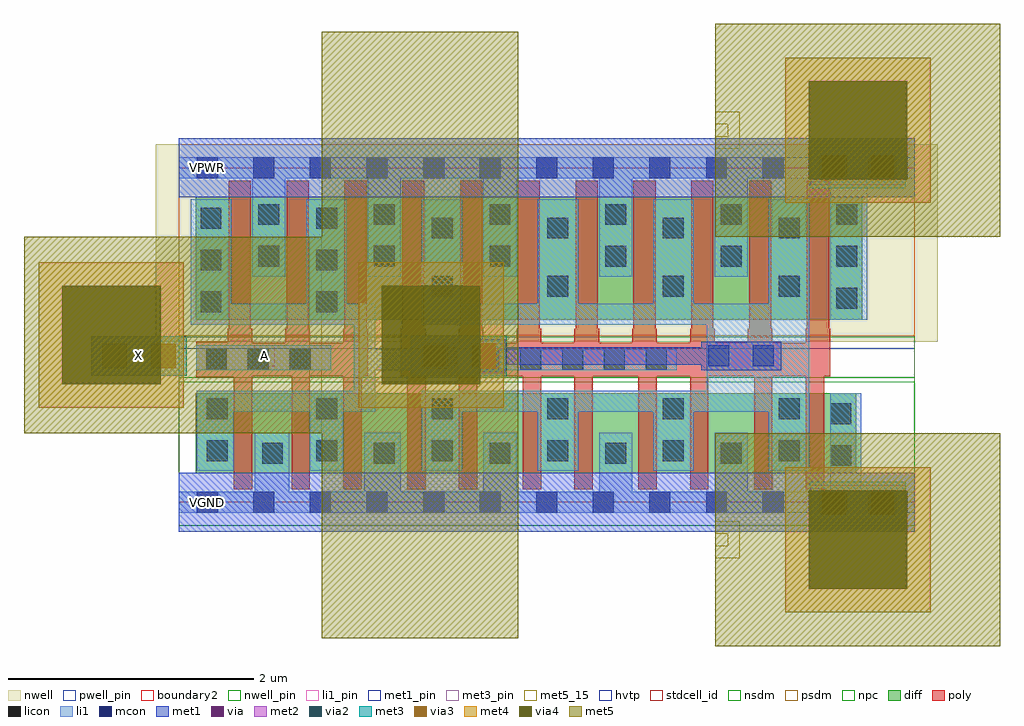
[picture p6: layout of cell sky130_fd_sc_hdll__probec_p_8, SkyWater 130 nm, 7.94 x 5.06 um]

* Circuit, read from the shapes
.subckt sky130_fd_sc_hdll__probec_p_8 A VGND VNB VPB VPWR X
XM1 VGND A n1 VNB sky130_fd_pr__nfet_01v8 w=0.65 l=0.15 m=3
XM2 X n1 VGND VNB sky130_fd_pr__nfet_01v8 w=0.65 l=0.15 m=8
XM3 VPWR A n1 VPB sky130_fd_pr__pfet_01v8_hvt w=1 l=0.18 m=3
XM4 X n1 VPWR VPB sky130_fd_pr__pfet_01v8_hvt w=1 l=0.18 m=8
.ends

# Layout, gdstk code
import gdstk
lib = gdstk.Library(unit=1e-6, precision=1e-09)
def R(c, l, rs):  # rectangles x0, y0, x1, y1
    for r in rs: c.add(gdstk.rectangle(r[:2], r[2:], *l))
def A(c, l, x, y, w, h, nx, ny, dx, dy):  # array of equal rectangles
    R(c, l, [(x+i*dx, y+j*dy, x+i*dx+w, y+j*dy+h) for i in range(nx) for j in range(ny)])
def P(c, l, *ps):  # polygons
    for p in ps: c.add(gdstk.Polygon(p, *l))
nwell_pin = (64, 16)
nwell = (64, 20)
diff = (65, 20)
poly = (66, 20)
licon = (66, 44)
li1_pin = (67, 16)
li1 = (67, 20)
mcon = (67, 44)
met1_pin = (68, 16)
met1 = (68, 20)
via = (68, 44)
met2 = (69, 20)
via2 = (69, 44)
met3_pin = (70, 16)
met3 = (70, 20)
via3 = (70, 44)
met4 = (71, 20)
via4 = (71, 44)
met5_15 = (72, 15)
met5 = (72, 20)
hvtp = (78, 44)
stdcell_id = (81, 4)
nsdm = (93, 44)
psdm = (94, 20)
npc = (95, 20)
pwell_pin = (122, 16)
boundary2 = (236, 0)

sky130_fd_sc_hdll__probe = lib.new_cell('sky130_fd_sc_hdll__probec_p_8')
R(sky130_fd_sc_hdll__probe, nwell_pin, [(0.15,2.635,0.32,2.805)])
R(sky130_fd_sc_hdll__probe, nwell, [(-0.19,1.305,6.17,2.91)])
R(sky130_fd_sc_hdll__probe, diff, [(0.135,0.235,5.505,0.885), (0.135,1.485,5.555,2.485)])
P(sky130_fd_sc_hdll__probe, poly, [(1.535,1.41),(1.525,1.41),(1.525,2.615),(1.345,2.615),(1.345,1.41),(1.335,1.41),(1.335,1.295),(1.065,1.295),(1.065,1.41),(1.055,1.41),(1.055,2.615),(0.875,2.615),(0.875,1.41),(0.865,1.41),(0.865,1.295),(0.595,1.295),(0.595,1.41),(0.585,1.41),(0.585,2.615),(0.405,2.615),(0.405,1.41),(0.395,1.41),(0.395,1.305),(0.14,1.305),(0.14,1.015),(0.445,1.015),(0.445,0.105),(0.595,0.105),(0.595,1.025),(0.915,1.025),(0.915,0.105),(1.065,0.105),(1.065,1.025),(1.335,1.025),(1.335,0.105),(1.485,0.105),(1.485,1.025),(1.535,1.025)],
  [(5.295,1.41),(5.285,1.41),(5.285,2.615),(5.105,2.615),(5.105,1.41),(5.095,1.41),(5.095,1.295),(4.825,1.295),(4.825,1.41),(4.815,1.41),(4.815,2.615),(4.635,2.615),(4.635,1.41),(4.625,1.41),(4.625,1.295),(4.355,1.295),(4.355,1.41),(4.345,1.41),(4.345,2.615),(4.165,2.615),(4.165,1.41),(4.155,1.41),(4.155,1.295),(3.885,1.295),(3.885,1.41),(3.875,1.41),(3.875,2.615),(3.695,2.615),(3.695,1.41),(3.685,1.41),(3.685,1.295),(3.415,1.295),(3.415,1.41),(3.405,1.41),(3.405,2.615),(3.225,2.615),(3.225,1.41),(3.215,1.41),(3.215,1.295),(2.945,1.295),(2.945,1.41),(2.935,1.41),(2.935,2.615),(2.755,2.615),(2.755,1.41),(2.745,1.41),(2.745,1.295),(2.475,1.295),(2.475,1.41),(2.465,1.41),(2.465,2.615),(2.285,2.615),(2.285,1.41),(2.275,1.41),(2.275,1.295),(2.005,1.295),(2.005,1.41),(1.995,1.41),(1.995,2.615),(1.815,2.615),(1.815,1.41),(1.805,1.41),(1.805,1.025),(1.855,1.025),(1.855,0.105),(2.005,0.105),(2.005,1.025),(2.275,1.025),(2.275,0.105),(2.425,0.105),(2.425,1.025),(2.795,1.025),(2.795,0.105),(2.945,0.105),(2.945,1.025),(3.215,1.025),(3.215,0.105),(3.365,0.105),(3.365,1.025),(3.735,1.025),(3.735,0.105),(3.885,0.105),(3.885,1.025),(4.155,1.025),(4.155,0.105),(4.305,0.105),(4.305,1.025),(4.675,1.025),(4.675,0.105),(4.825,0.105),(4.825,1.025),(5.095,1.025),(5.095,0.105),(5.245,0.105),(5.245,1.025),(5.295,1.025)])
A(sky130_fd_sc_hdll__probe, licon, 1.585, 0.315, 0.17, 0.17, 4, 1, 0.94, 0)
A(sky130_fd_sc_hdll__probe, licon, 1.115, 0.335, 0.17, 0.17, 5, 2, 0.94, 0.34)
A(sky130_fd_sc_hdll__probe, licon, 0.22, 1.075, 0.17, 0.17, 3, 1, 0.34, 0)
A(sky130_fd_sc_hdll__probe, licon, 2.095, 1.075, 0.17, 0.17, 6, 1, 0.34, 0)
A(sky130_fd_sc_hdll__probe, licon, 0.175, 1.545, 0.17, 0.17, 1, 3, 0, 0.34)
A(sky130_fd_sc_hdll__probe, licon, 1.115, 1.545, 0.17, 0.17, 1, 3, 0, 0.34)
A(sky130_fd_sc_hdll__probe, licon, 2.055, 1.67, 0.17, 0.17, 4, 2, 0.94, 0.475)
A(sky130_fd_sc_hdll__probe, licon, 0.645, 1.915, 0.17, 0.17, 6, 2, 0.94, 0.34)
R(sky130_fd_sc_hdll__probe, licon, [(5.295,0.295,5.465,0.465), (0.675,0.315,0.845,0.485), (0.225,0.335,0.395,0.505), (5.295,0.635,5.465,0.805), (0.225,0.675,0.395,0.845), (5.345,1.575,5.515,1.745)])
R(sky130_fd_sc_hdll__probe, li1_pin, [(0.15,-0.085,0.32,0.085), (0.61,1.105,0.78,1.275), (0.15,2.635,0.32,2.805)])
R(sky130_fd_sc_hdll__probe, li1, [(0.14,1.075,1.24,1.275)])
P(sky130_fd_sc_hdll__probe, li1, [(5.125,2.465),(4.795,2.465),(4.795,1.615),(4.185,1.615),(4.185,2.465),(3.855,2.465),(3.855,1.615),(3.245,1.615),(3.245,2.465),(2.915,2.465),(2.915,1.615),(2.305,1.615),(2.305,2.465),(1.975,2.465),(1.975,1.445),(4.29,1.445),(4.29,0.905),(1.975,0.905),(1.975,0.255),(2.305,0.255),(2.305,0.735),(2.915,0.735),(2.915,0.255),(3.245,0.255),(3.245,0.735),(3.855,0.735),(3.855,0.255),(4.185,0.255),(4.185,0.735),(4.795,0.735),(4.795,0.255),(5.125,0.255)],
  [(5.98,2.805),(0,2.805),(0,2.635),(0.595,2.635),(0.595,1.835),(0.865,1.835),(0.865,2.635),(1.535,2.635),(1.535,1.835),(1.805,1.835),(1.805,2.635),(2.475,2.635),(2.475,1.835),(2.745,1.835),(2.745,2.635),(3.415,2.635),(3.415,1.835),(3.685,1.835),(3.685,2.635),(4.355,2.635),(4.355,1.835),(4.625,1.835),(4.625,2.635),(5.295,2.635),(5.295,1.485),(5.595,1.485),(5.595,2.635),(5.98,2.635)],
  [(5.98,0.085),(5.545,0.085),(5.545,0.885),(5.295,0.885),(5.295,0.085),(4.625,0.085),(4.625,0.565),(4.355,0.565),(4.355,0.085),(3.685,0.085),(3.685,0.565),(3.415,0.565),(3.415,0.085),(2.745,0.085),(2.745,0.565),(2.475,0.565),(2.475,0.085),(1.805,0.085),(1.805,0.565),(1.505,0.565),(1.505,0.085),(0.895,0.085),(0.895,0.565),(0.615,0.565),(0.615,0.085),(0,0.085),(0,-0.085),(5.98,-0.085)],
  [(4.045,1.245),(1.595,1.245),(1.595,1.615),(1.365,1.615),(1.365,2.465),(1.035,2.465),(1.035,1.615),(0.425,1.615),(0.425,2.465),(0.095,2.465),(0.095,1.445),(1.42,1.445),(1.42,0.905),(0.145,0.905),(0.145,0.255),(0.445,0.255),(0.445,0.735),(1.065,0.735),(1.065,0.255),(1.335,0.255),(1.335,0.735),(1.595,0.735),(1.595,1.075),(4.045,1.075)])
A(sky130_fd_sc_hdll__probe, mcon, 0.145, -0.085, 0.17, 0.17, 13, 2, 0.46, 2.72)
R(sky130_fd_sc_hdll__probe, mcon, [(4.305,1.105,4.475,1.275), (4.665,1.105,4.835,1.275)])
R(sky130_fd_sc_hdll__probe, met1_pin, [(0.15,-0.085,0.32,0.085), (0.15,2.635,0.32,2.805)])
R(sky130_fd_sc_hdll__probe, met1, [(0,-0.24,5.98,0.24), (0,2.48,5.98,2.96)])
P(sky130_fd_sc_hdll__probe, met1, [(4.895,1.305),(4.245,1.305),(4.245,1.26),(2.66,1.26),(2.66,1.32),(2.02,1.32),(2.02,1.06),(2.66,1.06),(2.66,1.12),(4.245,1.12),(4.245,1.075),(4.895,1.075)])
R(sky130_fd_sc_hdll__probe, via, [(5.285,-0.075,5.435,0.075), (5.605,-0.075,5.755,0.075), (2.105,1.115,2.255,1.265), (2.425,1.115,2.575,1.265), (5.285,2.645,5.435,2.795), (5.605,2.645,5.755,2.795)])
R(sky130_fd_sc_hdll__probe, met2, [(5.135,-0.14,5.905,0.14), (1.89,1.05,2.66,1.33), (5.135,2.58,5.905,2.86)])
R(sky130_fd_sc_hdll__probe, via2, [(5.22,-0.1,5.42,0.1), (5.62,-0.1,5.82,0.1), (1.975,1.09,2.175,1.29), (2.375,1.09,2.575,1.29), (5.22,2.62,5.42,2.82), (5.62,2.62,5.82,2.82)])
R(sky130_fd_sc_hdll__probe, met3_pin, [(-0.49,1.03,-0.17,1.35)])
R(sky130_fd_sc_hdll__probe, met3, [(5.13,-0.165,5.91,0.165), (1.885,1.025,2.665,1.355), (-0.715,1.03,0.065,1.35), (5.13,2.555,5.91,2.885)])
R(sky130_fd_sc_hdll__probe, via3, [(5.22,-0.1,5.42,0.1), (5.62,-0.1,5.82,0.1), (-0.625,1.09,-0.425,1.29), (-0.225,1.09,-0.025,1.29), (1.975,1.09,2.175,1.29), (2.375,1.09,2.575,1.29), (5.22,2.62,5.42,2.82), (5.62,2.62,5.82,2.82)])
R(sky130_fd_sc_hdll__probe, met4, [(4.93,-0.895,6.11,0.285), (-1.14,0.77,0.04,1.95), (1.46,0.77,2.64,1.95), (4.93,2.435,6.11,3.615)])
R(sky130_fd_sc_hdll__probe, via4, [(5.12,-0.705,5.92,0.095), (-0.95,0.96,-0.15,1.76), (1.65,0.96,2.45,1.76), (5.12,2.625,5.92,3.425)])
R(sky130_fd_sc_hdll__probe, met5_15, [(1.06,0.56,1.16,2.16)])
P(sky130_fd_sc_hdll__probe, met5_15, [(4.56,3.175),(4.36,3.175),(4.36,3.075),(4.46,3.075),(4.46,2.975),(4.36,2.975),(4.36,2.875),(4.56,2.875)],
  [(4.56,-0.155),(4.36,-0.155),(4.36,-0.255),(4.46,-0.255),(4.46,-0.355),(4.36,-0.355),(4.36,-0.455),(4.56,-0.455)])
R(sky130_fd_sc_hdll__probe, met5, [(4.36,-1.17,6.675,0.56), (4.36,2.16,6.675,3.89)])
P(sky130_fd_sc_hdll__probe, met5, [(2.76,3.825),(1.16,3.825),(1.16,2.16),(-1.26,2.16),(-1.26,0.56),(1.16,0.56),(1.16,-1.105),(2.76,-1.105)])
R(sky130_fd_sc_hdll__probe, hvtp, [(0,1.25,5.98,2.72)])
R(sky130_fd_sc_hdll__probe, stdcell_id, [(0,0,5.98,2.72)])
R(sky130_fd_sc_hdll__probe, nsdm, [(0,-0.19,5.98,1.015)])
R(sky130_fd_sc_hdll__probe, psdm, [(0,1.355,5.98,2.91)])
R(sky130_fd_sc_hdll__probe, npc, [(0,0.975,5.98,1.345)])
R(sky130_fd_sc_hdll__probe, pwell_pin, [(0.15,-0.085,0.32,0.085)])
R(sky130_fd_sc_hdll__probe, boundary2, [(0,0,5.98,2.72)])
sky130_fd_sc_hdll__probe.add(gdstk.Label('X', (-0.33,1.19), layer=70, texttype=5))
sky130_fd_sc_hdll__probe.add(gdstk.Label('A', (0.695,1.19), layer=67, texttype=5))
sky130_fd_sc_hdll__probe.add(gdstk.Label('VGND', (0.23,0), layer=67, texttype=5))
sky130_fd_sc_hdll__probe.add(gdstk.Label('VPWR', (0.235,2.72), layer=67, texttype=5))
sky130_fd_sc_hdll__probe.add(gdstk.Label('VPB', (0.235,2.72), layer=64, texttype=5))
sky130_fd_sc_hdll__probe.add(gdstk.Label('VNB', (0.235,0), layer=64, texttype=59))
sky130_fd_sc_hdll__probe.add(gdstk.Label('VGND', (0.23,0), layer=68, texttype=5))
sky130_fd_sc_hdll__probe.add(gdstk.Label('VPWR', (0.235,2.72), layer=68, texttype=5))
sky130_fd_sc_hdll__probe.add(gdstk.Label('probec_p_8', (0,0), layer=83, texttype=44))

lib.write_gds('sky130_fd_sc_hdll__probec_p_8.gds')
